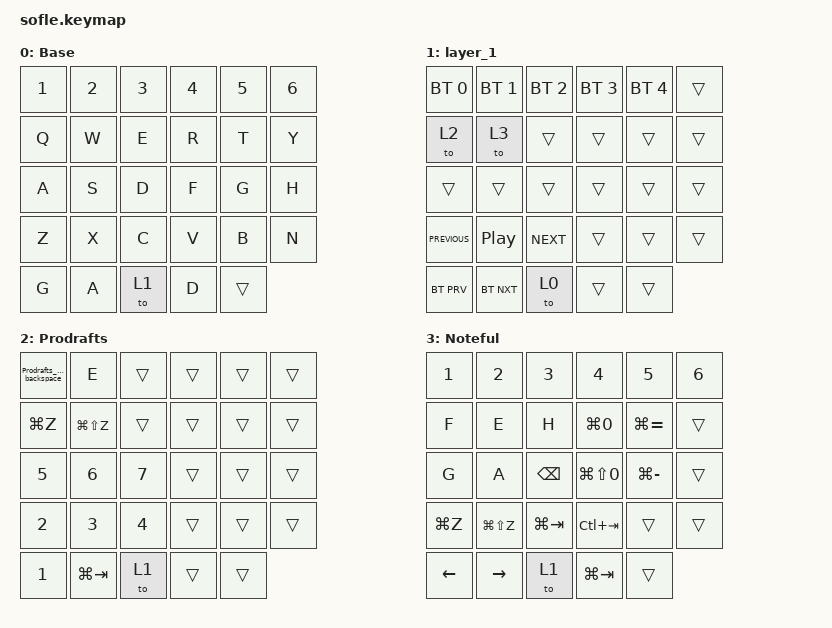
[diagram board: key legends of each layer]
#include <behaviors.dtsi>
#include <dt-bindings/zmk/bt.h>
#include <dt-bindings/zmk/keys.h>
#include <dt-bindings/zmk/outputs.h>

/ {
    behaviors {
        Prodrafts_Lasso_backspace: Prodrafts_Lasso_backspace {
            compatible = "zmk,behavior-tap-dance";
            label = "PRODRAFTS_LASSO_BACKSPACE";
            #binding-cells = <0>;
            bindings = <&kp V>, <&kp BACKSPACE>;
        };
    };

    keymap {
        compatible = "zmk,keymap";

        default_layer {
            display-name = "Base";
            bindings = <
                &kp N1  &kp N2  &kp N3  &kp N4  &kp N5  &kp N6
                &kp Q   &kp W   &kp E   &kp R   &kp T   &kp Y
                &kp A   &kp S   &kp D   &kp F   &kp G   &kp H
                &kp Z   &kp X   &kp C   &kp V   &kp B   &kp N

                &kp G   &kp A   &to 1   &kp D   &trans
            >;
        };

        layer_1 {
            bindings = <
                &bt BT_SEL 0  &bt BT_SEL 1  &bt BT_SEL 2  &bt BT_SEL 3  &bt BT_SEL 4  &trans
                &to 2          &to 3          &trans         &trans         &trans         &trans
                &trans         &trans         &trans         &trans         &trans         &trans
                &kp C_PREVIOUS &kp C_PLAY_PAUSE &kp C_NEXT   &trans         &trans         &trans

                &bt BT_PRV  &bt BT_NXT  &to 0  &trans  &trans
            >;
        };

        Prodrafts {
            bindings = <
                &Prodrafts_Lasso_backspace  &kp E          &trans         &trans         &trans  &trans
                &kp LG(Z)                   &kp LG(LS(Z))  &trans         &trans         &trans  &trans
                &kp N5                      &kp NUMBER_6   &kp N7         &trans         &trans  &trans
                &kp NUMBER_2                &kp NUMBER_3   &kp NUMBER_4  &trans         &trans  &trans

                &kp NUMBER_1  &kp LG(TAB)  &to 1  &trans  &trans
            >;
        };

        Noteful {
            bindings = <
                &kp NUMBER_1  &kp NUMBER_2   &kp NUMBER_3   &kp NUMBER_4     &kp N5          &kp NUMBER_6
                &kp F          &kp E          &kp H          &kp LG(N0)       &kp LG(EQUAL)   &trans
                &kp G          &kp A          &kp BACKSPACE  &kp LG(LS(N0))   &kp LG(MINUS)   &trans
                &kp LG(Z)      &kp LG(LS(Z))  &kp LG(TAB)    &kp LC(TAB)      &trans          &trans

                &kp LEFT  &kp RIGHT  &to 1  &kp LG(TAB)  &trans
            >;
        };
    };
};
